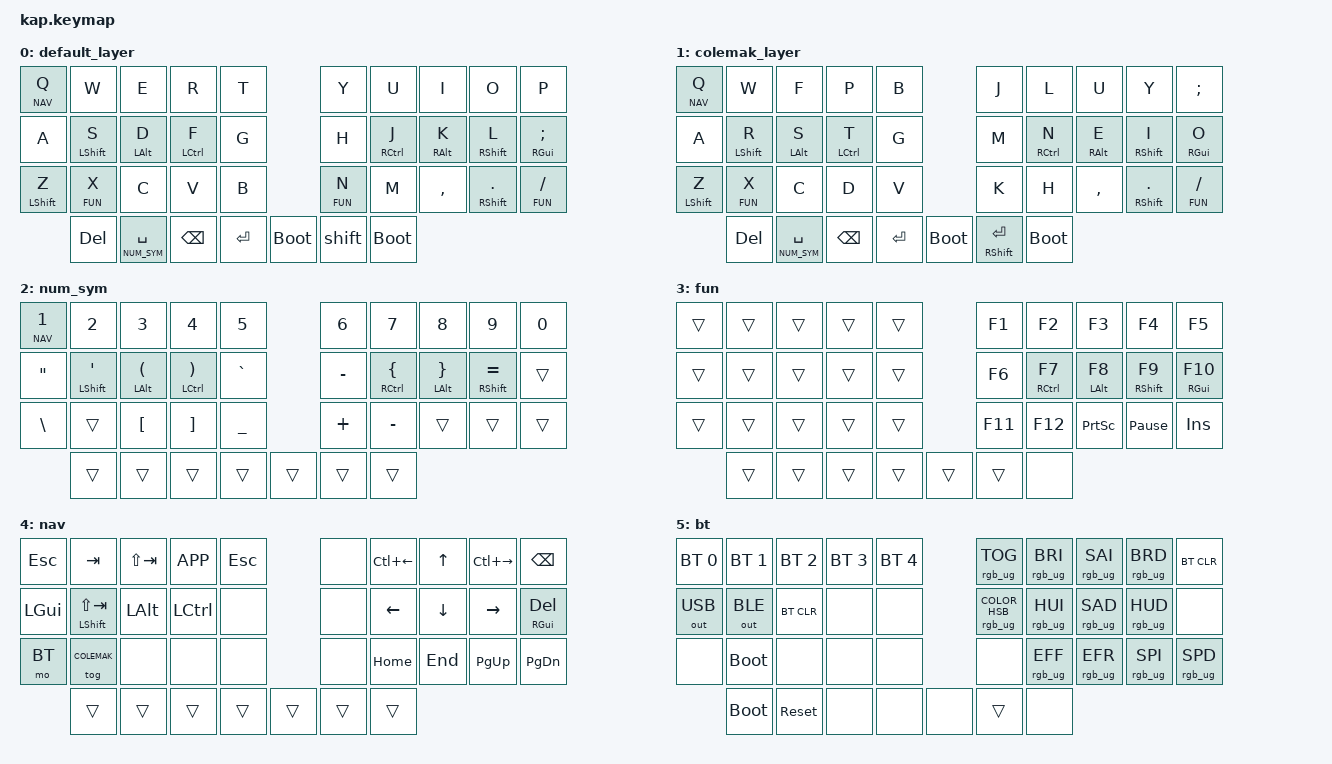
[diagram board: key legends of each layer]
#include <behaviors.dtsi>
#include <dt-bindings/zmk/keys.h>
#include <dt-bindings/zmk/bt.h>
#include <dt-bindings/zmk/outputs.h>
#include <dt-bindings/zmk/rgb.h>

#define DEFAULT 0
#define COLEMAK 1
#define NUM_SYM 2
#define FUN     3
#define NAV     4
#define BT      5

#define COMBO_TIMEOUT 20
#define COMBO_IDLE 150
#define LONG_COMBO_TIMEOUT 100
#define TD_TIMEOUT 150
#define SHORT_TD_TIMEOUT 120
#define TAP_TIMEOUT 150
#define HM_TAP_TIMEOUT 280
#define QUICK_TAP_MS 175

#define KEYS_L 0 1 2 3 4 10 11 12 13 14 20 21 22 23 24 30 31 32 33 34
#define KEYS_R 5 6 7 8 9 15 16 17 18 19 25 26 27 28 29 35 36

&lt {
    tapping-term-ms = <TAP_TIMEOUT>;
};

/ {
    behaviors {
        hmsk: homerow_mods_for_shift {
            compatible = "zmk,behavior-hold-tap";
            label = "homerow_mods_for_shift";
            #binding-cells = <2>;
            flavor = "balanced";
            tapping-term-ms = <TAP_TIMEOUT>;
            quick-tap-ms = <QUICK_TAP_MS>;
            require-prior-idle-ms = <75>;
            bindings = <&sk>, <&kp>;
        };
        shift: thumb_shift {
            compatible = "zmk,behavior-mod-morph";
            label = "thumb_shift";
            #binding-cells = <0>;
            bindings = <&lt NAV RET>, <&caps_word>;
            mods = <(MOD_RSFT)>;
        };
        hm: homerow_mods {
            compatible = "zmk,behavior-hold-tap";
            label = "homerow mods";
            #binding-cells = <2>;
            flavor = "balanced";
            tapping-term-ms = <TAP_TIMEOUT>;
            quick-tap-ms = <QUICK_TAP_MS>;
            require-prior-idle-ms = <75>;
            bindings = <&kp>, <&kp>;
        };
        hmnav: homerow_mods_nav {
            compatible = "zmk,behavior-hold-tap";
            label = "homerow mods nav";
            #binding-cells = <2>;
            flavor = "balanced";
            tapping-term-ms = <TAP_TIMEOUT>;
            quick-tap-ms = <QUICK_TAP_MS>;
            bindings = <&kp>, <&kp>;
            hold-trigger-key-positions = <KEYS_R>;
            hold-trigger-on-release;
        };
        hml: homerow_mods_left {
            compatible = "zmk,behavior-hold-tap";
            label = "homerow mods left";
            #binding-cells = <2>;
            flavor = "balanced";
            tapping-term-ms = <TAP_TIMEOUT>;
            quick-tap-ms = <QUICK_TAP_MS>;
            require-prior-idle-ms = <75>;
            bindings = <&kp>, <&kp>;
            hold-trigger-key-positions = <KEYS_R>;
            hold-trigger-on-release;
        };
        hmr: homerow_mods_right {
            compatible = "zmk,behavior-hold-tap";
            label = "homerow mods right";
            #binding-cells = <2>;
            flavor = "balanced";
            tapping-term-ms = <TAP_TIMEOUT>;
            quick-tap-ms = <QUICK_TAP_MS>;
            require-prior-idle-ms = <75>;
            bindings = <&kp>, <&kp>;
            hold-trigger-key-positions = <KEYS_L>;
            hold-trigger-on-release;
        };
    };
};

/ {
    combos {
        compatible = "zmk,combos";
        combo_qw_tab {
            timeout-ms = <COMBO_TIMEOUT>;
            require-prior-idle-ms = <COMBO_IDLE>;
            key-positions = <0 1>;
            bindings = <&kp TAB>;
        };
        /*
        combo_we_esc {
            timeout-ms = <COMBO_TIMEOUT>;
            key-positions = <1 2>;
            bindings = <&kp ESC>;
        };
        */

        combo_io_del {
            timeout-ms = <COMBO_TIMEOUT>;
            require-prior-idle-ms = <COMBO_IDLE>;
            key-positions = <7 8>;
            bindings = <&kp LC(DEL)>;
        };
        combo_op_bspc {
            timeout-ms = <COMBO_TIMEOUT>;
            require-prior-idle-ms = <COMBO_IDLE>;
            key-positions = <8 9>;
            bindings = <&kp LC(BSPC)>;
        };

        combo_gb_t {
            timeout-ms = <COMBO_TIMEOUT>;
            require-prior-idle-ms = <COMBO_IDLE>;
            key-positions = <14 24>;
            bindings = <&kp T>;
        };
        combo_hn_y {
            timeout-ms = <COMBO_TIMEOUT>;
            require-prior-idle-ms = <COMBO_IDLE>;
            key-positions = <15 25>;
            bindings = <&kp Y>;
        };

        combo_as_save {
            timeout-ms = <COMBO_TIMEOUT>;
            require-prior-idle-ms = <COMBO_IDLE>;
            key-positions = <10 11>;
            bindings = <&kp LC(S)>;
        };

        combo_lsemi_ret {
            timeout-ms = <COMBO_TIMEOUT>;
            require-prior-idle-ms = <COMBO_IDLE>;
            key-positions = <18 19>;
            bindings = <&kp RET>;
        };

        combo_zx_cut {
            timeout-ms = <COMBO_TIMEOUT>;
            require-prior-idle-ms = <COMBO_IDLE>;
            key-positions = <20 21>;
            bindings = <&kp LC(X)>;
        };
        combo_xc_copy {
            timeout-ms = <COMBO_TIMEOUT>;
            require-prior-idle-ms = <COMBO_IDLE>;
            key-positions = <21 22>;
            bindings = <&kp LC(C)>;
        };
        combo_cv_paste {
            timeout-ms = <COMBO_TIMEOUT>;
            require-prior-idle-ms = <COMBO_IDLE>;
            key-positions = <22 23>;
            bindings = <&kp LC(V)>;
        };
        combo_vb_space {
            timeout-ms = <COMBO_TIMEOUT>;
            require-prior-idle-ms = <COMBO_IDLE>;
            key-positions = <23 24>;
            bindings = <&lt NUM_SYM SPACE>;
        };
    };
};
/ {
    keymap {
        compatible = "zmk,keymap";

        default_layer {
// --------------------------------------------------------------------------------------------------------------------------------------------------------------------
// |    Q    |    W    |    E    |    R    |    T    |                |    Y    |    U    |    I    |    O    |    P    |
// |    A    |    S    |    D    |    F    |    G    |                |    H    |    J    |    K    |    L    |    ;    |
// |    Z    |    X    |    C    |    V    |    B    |                |    N    |    M    |    ,    |    .    |    /    |
//         |   SHIFT  |  SPACE  | LEFT  |  RIGHT  | RESET  |        |  RETURN |  RESET  |
            bindings = <
    &lt NAV Q    &kp W        &kp E        &kp R        &kp T                         &kp Y       &kp U        &kp I        &kp O          &kp P
    &kp A        &hml LSHFT S &hml LALT D  &hml LCTRL F &kp G                         &kp H       &hmr RCTRL J &hm RALT K   &hmr RSHFT L   &hmr RGUI SEMI
    &hm LSHFT Z  &lt FUN X    &kp C        &kp V        &kp B                         &lt FUN N   &kp M        &kp COMMA    &hmr RSHFT DOT &lt FUN FSLH
                &kp DEL  &lt NUM_SYM SPACE &kp BSPC     &kp RET &bootloader    &shift &bootloader
            >;
        };

        colemak_layer {
// --------------------------------------------------------------------------------------------------------------------------------------------------------------------
// |    Q    |    W    |    F    |    P    |    B    |                |    J    |    L    |    U    |    Y    |    ;    |
// |    A    |    R    |    S    |    T    |    G    |                |    M    |    N    |    E    |    I    |    O    |
// |    Z    |    X    |    C    |    D    |    V    |                |    K    |    H    |    ,    |    .    |    /    |
//         |   SHIFT  |  SPACE  | LEFT  |  RIGHT  | RESET  |        |  RETURN |  RESET  |
            bindings = <
    &lt NAV Q    &kp W        &kp F        &kp P        &kp B                         &kp J   &kp L        &kp U        &kp Y          &kp SEMI
    &kp A        &hml LSHFT R &hml LALT S  &hml LCTRL T &kp G                         &kp M   &hmr RCTRL N &hm RALT E   &hmr RSHFT I   &hmr RGUI O
    &hm LSHFT Z  &lt FUN X    &kp C        &kp D        &kp V                         &kp K   &kp H        &kp COMMA    &hm RSHFT DOT  &lt FUN FSLH
                &kp DEL  &lt NUM_SYM SPACE &kp BSPC     &kp RET &bootloader    &hmr RSHFT RET &bootloader
            >;
        };
        
        num_sym {
            bindings = <
    &lt NAV N1    &kp N2           &kp N3        &kp N4         &kp N5               &kp N6    &kp N7         &kp N8        &kp N9          &kp N0
    &kp DQT       &hm LSHFT SQT &hm LALT LPAR &hm LCTRL RPAR &kp GRAVE            &kp MINUS &hm RCTRL LBRC &hm LALT RBRC &hm RSHFT EQUAL &trans
    &kp BSLH      &trans           &kp LBKT      &kp RBKT       &kp UNDER            &kp PLUS  &kp MINUS      &trans        &trans          &trans
                &trans      &trans             &trans   &trans   &trans        &trans   &trans
            >;
        };
        
        fun {
            bindings = <
    &trans &trans &trans &trans &trans          &kp F1  &kp F2        &kp F3       &kp F4           &kp F5
    &trans &trans &trans &trans &trans          &kp F6  &hmr RCTRL F7 &hmr LALT F8 &hmr RSHFT F9    &hmr RGUI F10
    &trans &trans &trans &trans &trans          &kp F11 &kp F12       &kp PSCRN    &kp PAUSE_BREAK  &kp INS
      &trans &trans &trans &trans &trans       &trans  &none
            >;
        };

        nav {
            bindings = <
    &kp ESC  &kp TAB               &kp LS(TAB) &kp K_APP    &kp ESC         &none    &kp LC(LEFT) &kp UP    &kp LC(RIGHT) &kp BSPC
    &kp LGUI &hmnav LSHFT LS(TAB)  &kp LALT    &kp LCTRL    &none           &none    &kp LEFT     &kp DOWN  &kp RIGHT     &hm RGUI DEL
    &mo BT   &tog COLEMAK          &none       &none        &none           &none    &kp HOME     &kp END   &kp PG_UP     &kp PG_DN
      &trans   &trans    &trans      &trans       &trans      &trans   &trans
            >;
        };
 
        bt {
            bindings = <
    &bt BT_SEL 0 &bt BT_SEL 1 &bt BT_SEL 2 &bt BT_SEL 3 &bt BT_SEL 4         &rgb_ug RGB_TOG  &rgb_ug RGB_BRI &rgb_ug RGB_SAI &rgb_ug RGB_BRD &bt BT_CLR
    &out OUT_USB &out OUT_BLE &bt BT_CLR   &none        &none                &rgb_ug RGB_COLOR_HSB(139, 100, 39)  &rgb_ug RGB_HUI &rgb_ug RGB_SAD &rgb_ug RGB_HUD &none
    &none        &bootloader        &none  &none        &none                &none &rgb_ug RGB_EFF  &rgb_ug RGB_EFR &rgb_ug RGB_SPI &rgb_ug RGB_SPD
      &bootloader  &sys_reset       &none        &none        &none        &trans &none
            >;
        };

    };
};
